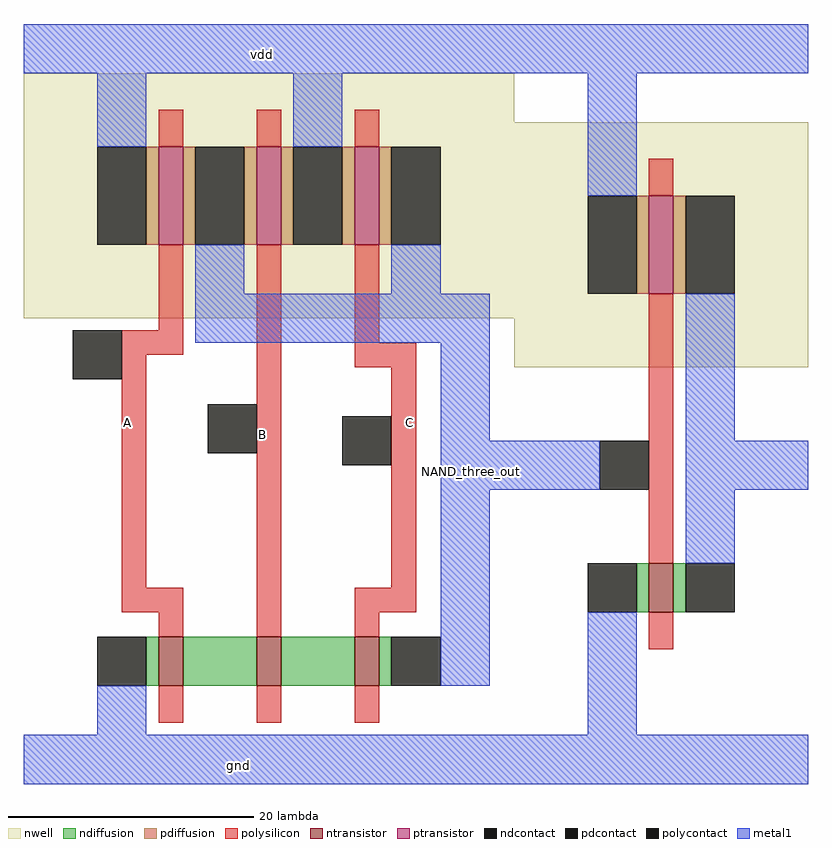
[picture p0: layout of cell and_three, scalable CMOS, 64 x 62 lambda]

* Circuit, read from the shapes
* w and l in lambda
.subckt and_three A B C NAND_three_out gnd vdd
M1 n1 A gnd VSUBS nfet w=4 l=2
M2 n2 B n1 VSUBS nfet w=4 l=2
M3 NAND_three_out C n2 VSUBS nfet w=4 l=2
M4 inverter_0/Inv_out NAND_three_out gnd VSUBS nfet w=4 l=2
M5 NAND_three_out A vdd n3 pfet w=8 l=2
M6 vdd B NAND_three_out n3 pfet w=8 l=2
M7 NAND_three_out C vdd n3 pfet w=8 l=2
M8 inverter_0/Inv_out NAND_three_out vdd n3 pfet w=8 l=2
.ends

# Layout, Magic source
magic
tech scmos
<< nwell >>
rect 70 38 110 58
<< ntransistor >>
rect 81 8 83 12
rect 89 8 91 12
rect 97 8 99 12
<< ptransistor >>
rect 81 44 83 52
rect 89 44 91 52
rect 97 44 99 52
<< ndiffusion >>
rect 80 8 81 12
rect 83 8 89 12
rect 91 8 97 12
rect 99 8 100 12
<< pdiffusion >>
rect 80 44 81 52
rect 83 44 84 52
rect 88 44 89 52
rect 91 44 92 52
rect 96 44 97 52
rect 99 44 100 52
<< ndcontact >>
rect 76 8 80 12
rect 100 8 104 12
<< pdcontact >>
rect 76 44 80 52
rect 84 44 88 52
rect 92 44 96 52
rect 100 44 104 52
<< polysilicon >>
rect 81 52 83 55
rect 89 52 91 55
rect 97 52 99 55
rect 81 37 83 44
rect 78 35 83 37
rect 78 16 80 35
rect 78 14 83 16
rect 81 12 83 14
rect 89 12 91 44
rect 97 36 99 44
rect 97 34 102 36
rect 100 16 102 34
rect 97 14 102 16
rect 97 12 99 14
rect 81 5 83 8
rect 89 5 91 8
rect 97 5 99 8
<< polycontact >>
rect 74 33 78 37
rect 85 27 89 31
rect 96 26 100 30
<< metal1 >>
rect 70 58 110 62
rect 76 52 80 58
rect 92 52 96 58
rect 84 40 88 44
rect 100 40 104 44
rect 84 36 108 40
rect 104 28 108 36
rect 104 24 110 28
rect 104 8 108 24
rect 76 4 80 8
rect 70 0 110 4
use inverter  inverter_0
transform 1 0 110 0 1 34
box 0 -34 24 28
<< labels >>
rlabel metal1 89 59 90 60 5 vdd
rlabel metal1 87 1 88 2 1 gnd
rlabel metal1 106 25 107 26 1 NAND_three_out
rlabel polysilicon 78 29 79 30 1 A
rlabel polysilicon 89 28 90 29 1 B
rlabel polysilicon 101 29 102 30 1 C
<< end >>

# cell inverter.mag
magic
tech scmos
<< nwell >>
rect 0 0 24 20
<< ntransistor >>
rect 11 -20 13 -16
<< ptransistor >>
rect 11 6 13 14
<< ndiffusion >>
rect 10 -20 11 -16
rect 13 -20 14 -16
<< pdiffusion >>
rect 10 6 11 14
rect 13 6 14 14
<< ndcontact >>
rect 6 -20 10 -16
rect 14 -20 18 -16
<< pdcontact >>
rect 6 6 10 14
rect 14 6 18 14
<< polysilicon >>
rect 11 14 13 17
rect 11 -16 13 6
rect 11 -23 13 -20
<< polycontact >>
rect 7 -10 11 -6
<< metal1 >>
rect 0 24 24 28
rect 6 14 10 24
rect 14 -6 18 6
rect 0 -10 7 -6
rect 14 -10 24 -6
rect 14 -16 18 -10
rect 6 -30 10 -20
rect 0 -34 24 -30
<< labels >>
rlabel metal1 3 -9 4 -8 3 INP
rlabel metal1 14 -31 15 -30 1 gnd
rlabel metal1 13 25 14 26 5 vdd
rlabel metal1 17 -9 18 -8 1 Inv_out
<< end >>
